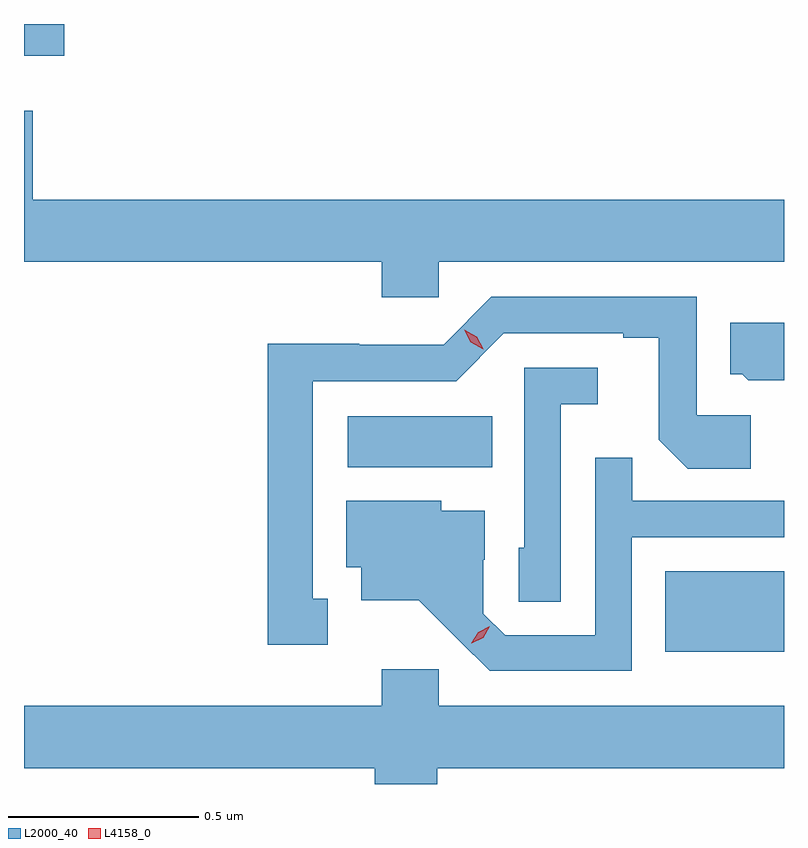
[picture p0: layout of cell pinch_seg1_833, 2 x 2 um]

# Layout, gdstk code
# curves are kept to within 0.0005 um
import gdstk
lib = gdstk.Library(unit=1e-6, precision=1e-09)
def R(c, l, rs):  # rectangles x0, y0, x1, y1
    for r in rs: c.add(gdstk.rectangle(r[:2], r[2:], *l))
def P(c, l, *ps):  # polygons
    for p in ps: c.add(gdstk.Polygon(p, *l))
L2000_40 = (2000, 40)
L4158_0 = (4158, 0)

pinch_seg1_833 = lib.new_cell('pinch_seg1_833')
R(pinch_seg1_833, L2000_40, [(485.42,560.03,485.732,560.242), (484.584,560.516,484.964,560.65), (483.732,561.599,483.838,561.682)])
P(pinch_seg1_833, L2000_40, [(484.824,561.056),(485.732,561.056),(485.732,561.22),(483.755,561.22),(483.755,561.454),(483.732,561.454),(483.732,561.056),(484.673,561.056),(484.673,560.963),(484.824,560.963)],
  [(484.531,560.169),(484.492,560.169),(484.492,560.742),(484.869,560.742),(484.995,560.868),(485.309,560.868),(485.309,560.856),(485.403,560.856),(485.403,560.588),(485.479,560.512),(485.644,560.512),(485.644,560.652),(485.502,560.652),(485.502,560.964),(484.962,560.964),(484.836,560.838),(484.614,560.838),(484.614,560.84),(484.374,560.84),(484.374,560.049),(484.531,560.049)],
  [(485.732,560.896),(485.591,560.896),(485.591,560.76),(485.622,560.76),(485.638,560.744),(485.732,560.744)],
  [(485.145,560.681),(485.242,560.681),(485.242,560.778),(485.049,560.778),(485.049,560.304),(485.034,560.304),(485.034,560.161),(485.145,560.161)],
  [(485.331,560.331),(485.732,560.331),(485.732,560.427),(485.333,560.427),(485.333,560.54),(485.235,560.54),(485.235,560.073),(484.998,560.073),(484.941,560.13),(484.941,560.272),(484.945,560.272),(484.945,560.401),(484.83,560.401),(484.83,560.428),(484.58,560.428),(484.58,560.252),(484.619,560.252),(484.619,560.165),(484.771,560.165),(484.958,559.98),(485.331,559.98)],
  [(484.82,559.724),(485.732,559.724),(485.732,559.888),(484.824,559.888),(484.824,559.984),(484.673,559.984),(484.673,559.888),(483.732,559.888),(483.732,559.724),(484.655,559.724),(484.655,559.682),(484.82,559.682)])
P(pinch_seg1_833, L4158_0, [(484.94,560.826),(484.908,560.845),(484.89,560.878),(484.89,560.878),(484.891,560.878),(484.923,560.859),(484.94,560.827),(484.94,560.826)],
  [(484.909,560.052),(484.909,560.052),(484.927,560.082),(484.957,560.097),(484.957,560.097),(484.957,560.097),(484.94,560.067),(484.91,560.052)])

lib.write_gds('pinch_seg1_833.gds')
